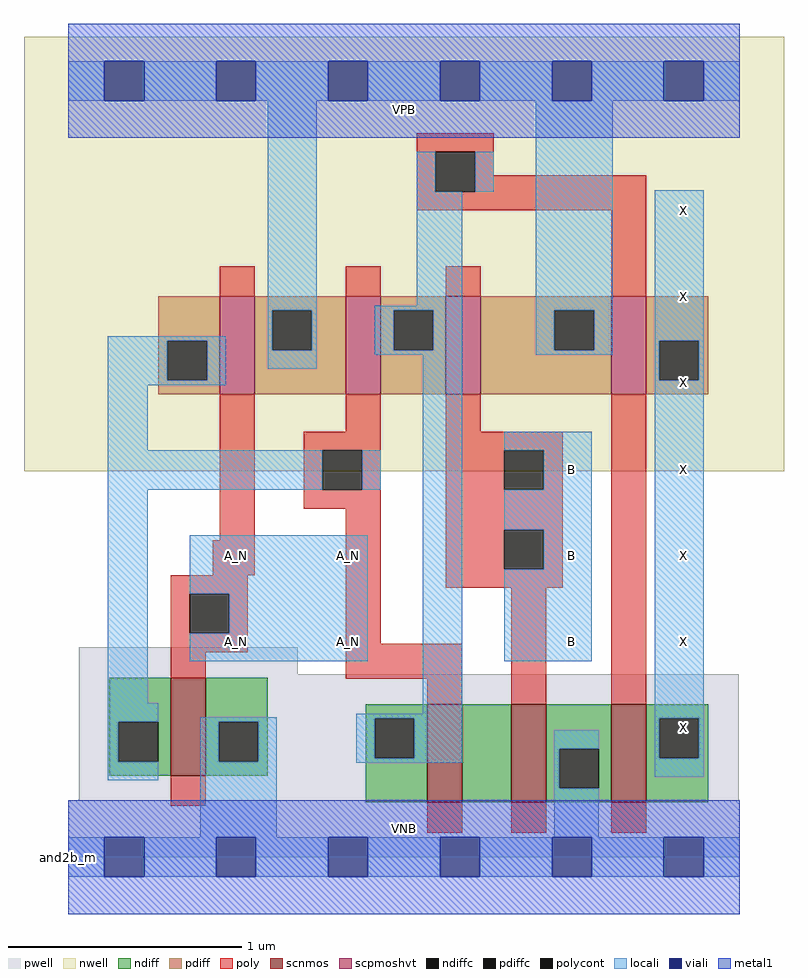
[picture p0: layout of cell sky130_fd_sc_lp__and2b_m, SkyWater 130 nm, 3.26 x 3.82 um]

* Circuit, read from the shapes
.subckt sky130_fd_sc_lp__and2b_m A_N B VGND VNB VPB VPWR X
XM1 VGND A_N n1 VNB sky130_fd_pr__nfet_01v8 w=0.42 l=0.15
XM2 n2 n1 n3 VNB sky130_fd_pr__nfet_01v8 w=0.42 l=0.15
XM3 VGND B n2 VNB sky130_fd_pr__nfet_01v8 w=0.42 l=0.15
XM4 X n3 VGND VNB sky130_fd_pr__nfet_01v8 w=0.42 l=0.15
XM5 VPWR A_N n1 VPB sky130_fd_pr__pfet_01v8_hvt w=0.42 l=0.15
XM6 n3 n1 VPWR VPB sky130_fd_pr__pfet_01v8_hvt w=0.42 l=0.15
XM7 VPWR B n3 VPB sky130_fd_pr__pfet_01v8_hvt w=0.42 l=0.15
XM8 X n3 VPWR VPB sky130_fd_pr__pfet_01v8_hvt w=0.42 l=0.15
.ends

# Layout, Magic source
magic
tech sky130A
magscale 1 2
<< nwell >>
rect -38 331 614 704
<< pwell >>
rect 9 157 197 180
rect 9 49 575 157
rect 0 0 576 49
<< scnmos >>
rect 88 70 118 154
rect 308 47 338 131
rect 380 47 410 131
rect 466 47 496 131
<< scpmoshvt >>
rect 130 397 160 481
rect 238 397 268 481
rect 324 397 354 481
rect 466 397 496 481
<< ndiff >>
rect 35 116 88 154
rect 35 82 43 116
rect 77 82 88 116
rect 35 70 88 82
rect 118 116 171 154
rect 118 82 129 116
rect 163 82 171 116
rect 118 70 171 82
rect 255 119 308 131
rect 255 85 263 119
rect 297 85 308 119
rect 255 47 308 85
rect 338 47 380 131
rect 410 93 466 131
rect 410 59 421 93
rect 455 59 466 93
rect 410 47 466 59
rect 496 119 549 131
rect 496 85 507 119
rect 541 85 549 119
rect 496 47 549 85
<< pdiff >>
rect 77 443 130 481
rect 77 409 85 443
rect 119 409 130 443
rect 77 397 130 409
rect 160 469 238 481
rect 160 435 175 469
rect 209 435 238 469
rect 160 397 238 435
rect 268 469 324 481
rect 268 435 279 469
rect 313 435 324 469
rect 268 397 324 435
rect 354 469 466 481
rect 354 435 417 469
rect 451 435 466 469
rect 354 397 466 435
rect 496 443 549 481
rect 496 409 507 443
rect 541 409 549 443
rect 496 397 549 409
<< ndiffc >>
rect 43 82 77 116
rect 129 82 163 116
rect 263 85 297 119
rect 421 59 455 93
rect 507 85 541 119
<< pdiffc >>
rect 85 409 119 443
rect 175 435 209 469
rect 279 435 313 469
rect 417 435 451 469
rect 507 409 541 443
<< poly >>
rect 299 605 365 621
rect 299 571 315 605
rect 349 585 365 605
rect 349 571 496 585
rect 299 555 496 571
rect 130 481 160 507
rect 238 481 268 507
rect 324 481 354 507
rect 466 481 496 555
rect 130 272 160 397
rect 238 365 268 397
rect 202 349 268 365
rect 202 315 218 349
rect 252 315 268 349
rect 202 299 268 315
rect 124 242 160 272
rect 88 226 154 242
rect 88 192 104 226
rect 138 192 154 226
rect 88 176 154 192
rect 238 183 268 299
rect 324 365 354 397
rect 324 349 424 365
rect 324 315 374 349
rect 408 315 424 349
rect 324 281 424 315
rect 324 247 374 281
rect 408 247 424 281
rect 324 231 424 247
rect 88 154 118 176
rect 238 153 338 183
rect 308 131 338 153
rect 380 131 410 231
rect 466 131 496 397
rect 88 44 118 70
rect 308 21 338 47
rect 380 21 410 47
rect 466 21 496 47
<< polycont >>
rect 315 571 349 605
rect 218 315 252 349
rect 104 192 138 226
rect 374 315 408 349
rect 374 247 408 281
<< locali >>
rect 0 649 31 683
rect 65 649 127 683
rect 161 649 223 683
rect 257 649 319 683
rect 353 649 415 683
rect 449 649 511 683
rect 545 649 576 683
rect 171 469 213 649
rect 299 571 315 605
rect 349 571 365 605
rect 299 473 338 571
rect 34 443 135 447
rect 34 409 85 443
rect 119 409 135 443
rect 171 435 175 469
rect 209 435 213 469
rect 171 419 213 435
rect 263 469 338 473
rect 263 435 279 469
rect 313 435 338 469
rect 263 431 338 435
rect 401 469 467 649
rect 401 435 417 469
rect 451 435 467 469
rect 401 431 467 435
rect 503 443 545 572
rect 34 405 135 409
rect 34 349 68 405
rect 34 315 218 349
rect 252 315 268 349
rect 34 132 68 315
rect 104 226 257 276
rect 138 192 257 226
rect 104 168 257 192
rect 34 116 77 132
rect 304 123 338 431
rect 503 409 507 443
rect 541 409 545 443
rect 374 349 449 365
rect 408 315 449 349
rect 374 281 449 315
rect 408 247 449 281
rect 374 168 449 247
rect 34 82 43 116
rect 34 66 77 82
rect 113 116 179 120
rect 113 82 129 116
rect 163 82 179 116
rect 113 17 179 82
rect 247 119 338 123
rect 247 85 263 119
rect 297 85 338 119
rect 503 119 545 409
rect 247 81 338 85
rect 417 93 455 109
rect 417 59 421 93
rect 503 85 507 119
rect 541 85 545 119
rect 503 69 545 85
rect 417 17 455 59
rect 0 -17 31 17
rect 65 -17 127 17
rect 161 -17 223 17
rect 257 -17 319 17
rect 353 -17 415 17
rect 449 -17 511 17
rect 545 -17 576 17
<< viali >>
rect 31 649 65 683
rect 127 649 161 683
rect 223 649 257 683
rect 319 649 353 683
rect 415 649 449 683
rect 511 649 545 683
rect 31 -17 65 17
rect 127 -17 161 17
rect 223 -17 257 17
rect 319 -17 353 17
rect 415 -17 449 17
rect 511 -17 545 17
<< metal1 >>
rect 0 683 576 715
rect 0 649 31 683
rect 65 649 127 683
rect 161 649 223 683
rect 257 649 319 683
rect 353 649 415 683
rect 449 649 511 683
rect 545 649 576 683
rect 0 617 576 649
rect 0 17 576 49
rect 0 -17 31 17
rect 65 -17 127 17
rect 161 -17 223 17
rect 257 -17 319 17
rect 353 -17 415 17
rect 449 -17 511 17
rect 545 -17 576 17
rect 0 -49 576 -17
<< labels >>
flabel pwell s 0 0 576 49 0 FreeSans 200 0 0 0 VNB
port 4 nsew ground bidirectional
flabel nwell s 0 617 576 666 0 FreeSans 200 0 0 0 VPB
port 5 nsew power bidirectional
rlabel comment s 0 0 0 0 4 and2b_m
flabel metal1 s 0 617 576 666 0 FreeSans 340 0 0 0 VPWR
port 6 nsew power bidirectional
flabel metal1 s 0 0 576 49 0 FreeSans 340 0 0 0 VGND
port 3 nsew ground bidirectional
flabel locali s 415 168 449 202 0 FreeSans 340 0 0 0 B
port 2 nsew signal input
flabel locali s 415 242 449 276 0 FreeSans 340 0 0 0 B
port 2 nsew signal input
flabel locali s 415 316 449 350 0 FreeSans 340 0 0 0 B
port 2 nsew signal input
flabel locali s 127 168 161 202 0 FreeSans 340 0 0 0 A_N
port 1 nsew signal input
flabel locali s 127 242 161 276 0 FreeSans 340 0 0 0 A_N
port 1 nsew signal input
flabel locali s 223 168 257 202 0 FreeSans 340 0 0 0 A_N
port 1 nsew signal input
flabel locali s 223 242 257 276 0 FreeSans 340 0 0 0 A_N
port 1 nsew signal input
flabel locali s 511 94 545 128 0 FreeSans 340 0 0 0 X
port 7 nsew signal output
flabel locali s 511 168 545 202 0 FreeSans 340 0 0 0 X
port 7 nsew signal output
flabel locali s 511 242 545 276 0 FreeSans 340 0 0 0 X
port 7 nsew signal output
flabel locali s 511 316 545 350 0 FreeSans 340 0 0 0 X
port 7 nsew signal output
flabel locali s 511 390 545 424 0 FreeSans 340 0 0 0 X
port 7 nsew signal output
flabel locali s 511 464 545 498 0 FreeSans 340 0 0 0 X
port 7 nsew signal output
flabel locali s 511 538 545 572 0 FreeSans 340 0 0 0 X
port 7 nsew signal output
<< properties >>
string LEFsite unit
string LEFclass CORE
string FIXED_BBOX 0 0 576 666
string GDS_FILE $PDKPATH/libs.ref/sky130_fd_sc_lp/gds/sky130_fd_sc_lp.gds
string LEFsymmetry X Y R90
string GDS_END 5215376
string GDS_START 5209046
<< end >>
